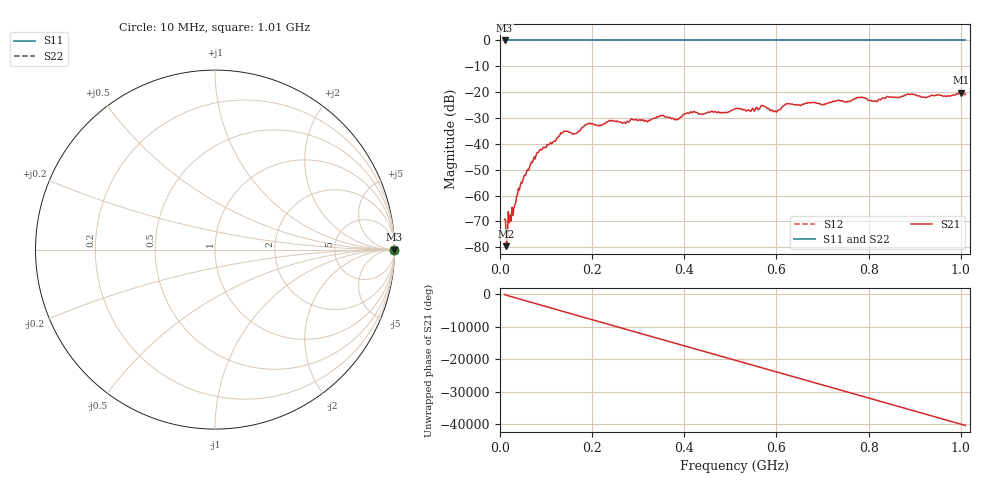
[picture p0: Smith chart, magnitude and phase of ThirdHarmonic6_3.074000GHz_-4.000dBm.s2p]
! 8/17/2025 8:59:34 AM
! C:\ANRITSUVNA\TEMP\TEMP.S2P
! CHANNEL.1
! TR.MEASUREMENT
! RAW.DATA
! RF.CORRECTION.OFF
! AVERAGING.OFF
! IF.BANDWIDTH: 5KHZ
! SWEEPTYPE:  FREQ.SWEEP(Linear)
! Reference Plane Port Info
! PORT:  PORT1  PORT2
! DISTANCE:  0  m  0  m
! TIME:  0  s  0  s
! PHASE.OFFSET:  0  deg.  0  deg.
! LOSS:  0  dB  0  dB
! REF.LOSS:  0  dB  0  dB
! REF.FREQ:  0  Hz  0  Hz
! Power Info
! POWER:  -20  dBm  -20  dBm
! EFF.POWER:  -20  dBm  -20  dBm
! SOURCE.ATTEN:  0  dB  0  dB
! TEST.ATTEN:  0  dB  0  dB
# GHZ S RI R 50.0
! FREQ.GHZ  S11RE  S11IM  S21RE  S21IM  S12RE  S12IM  S22RE  S22IM
!; PortSelection: Port_12
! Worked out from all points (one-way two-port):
!   501 points, 10 MHz to 1.01 GHz, reference 50 ohm
!   highest |S21| = -20.14 dB at 1 GHz (marker M1); lowest = -79.6 dB at 14 MHz (marker M2)
!   lowest |S11| = 0.0 dB at 10 MHz (marker M3)
!   |S11| at or under -10 dB: nowhere
!   |S22| runs from 0.0 to 0.0 dB; largest |S21 - S12| = 1.1
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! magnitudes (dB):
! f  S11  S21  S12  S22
! 10 MHz  0.0  -69.1  0.0  0.0
! 14 MHz  0.0  -79.6  0.0  0.0
! 18 MHz  0.0  -66.2  0.0  0.0
! 22 MHz  0.0  -67.6  0.0  0.0
! 28 MHz  0.0  -67.7  0.0  0.0
! 48 MHz  0.0  -55.1  0.0  0.0
! 84 MHz  0.0  -43.2  0.0  0.0
! 136 MHz  0.0  -35.7  0.0  0.0
! 162 MHz  0.0  -36.1  0.0  0.0
! 178 MHz  0.0  -33.8  0.0  0.0
! 192 MHz  0.0  -32.2  0.0  0.0
! 344 MHz  0.0  -29.5  0.0  0.0
! 384 MHz  0.0  -30.6  0.0  0.0
! 418 MHz  0.0  -27.9  0.0  0.0
! 510 MHz  0.0  -26.5  0.0  0.0
! 570 MHz  0.0  -25.2  0.0  0.0
! 598 MHz  0.0  -27.4  0.0  0.0
! 624 MHz  0.0  -24.5  0.0  0.0
! 678 MHz  0.0  -24.0  0.0  0.0
! 844 MHz  0.0  -21.9  0.0  0.0
! 1 GHz  0.0  -20.1  0.0  0.0
! 1.01 GHz  0.0  -20.7  0.0  0.0
